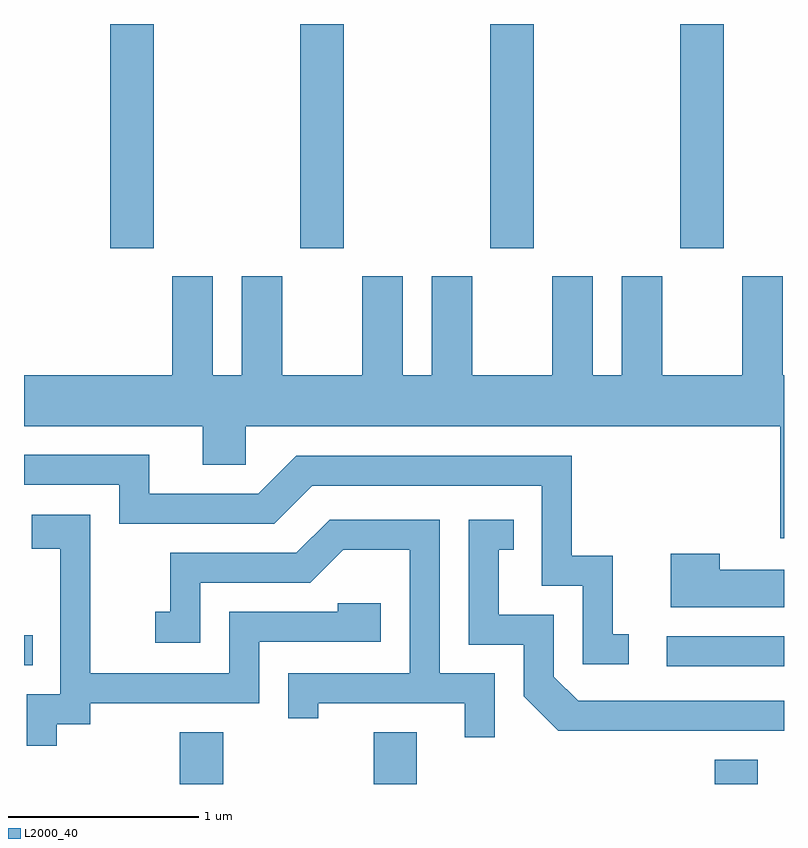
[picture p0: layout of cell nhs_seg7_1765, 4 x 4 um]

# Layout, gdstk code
import gdstk
lib = gdstk.Library(unit=1e-6, precision=1e-09)
def R(c, l, rs):  # rectangles x0, y0, x1, y1
    for r in rs: c.add(gdstk.rectangle(r[:2], r[2:], *l))
def A(c, l, x, y, w, h, nx, ny, dx, dy):  # array of equal rectangles
    R(c, l, [(x+i*dx, y+j*dy, x+i*dx+w, y+j*dy+h) for i in range(nx) for j in range(ny)])
def P(c, l, *ps):  # polygons
    for p in ps: c.add(gdstk.Polygon(p, *l))
L2000_40 = (2000, 40)

nhs_seg7_1765 = lib.new_cell('nhs_seg7_1765')
A(nhs_seg7_1765, L2000_40, 240.066, 1673.071, 0.228, 1.181, 4, 1, 1, 0)
R(nhs_seg7_1765, L2000_40, [(240.431,1670.252,240.659,1670.524), (241.451,1670.252,241.679,1670.524), (243.246,1670.252,243.474,1670.379), (242.993,1670.871,243.611,1671.029), (239.611,1670.876,239.658,1671.034)])
P(nhs_seg7_1765, L2000_40, [(243.611,1672.404),(243.604,1672.404),(243.604,1672.924),(243.391,1672.924),(243.391,1672.404),(242.969,1672.404),(242.969,1672.924),(242.756,1672.924),(242.756,1672.404),(242.604,1672.404),(242.604,1672.924),(242.391,1672.924),(242.391,1672.404),(241.969,1672.404),(241.969,1672.924),(241.756,1672.924),(241.756,1672.404),(241.604,1672.404),(241.604,1672.924),(241.391,1672.924),(241.391,1672.404),(240.969,1672.404),(240.969,1672.924),(240.756,1672.924),(240.756,1672.404),(240.604,1672.404),(240.604,1672.924),(240.391,1672.924),(240.391,1672.404),(239.611,1672.404),(239.611,1672.136),(240.551,1672.136),(240.551,1671.931),(240.779,1671.931),(240.779,1672.136),(243.591,1672.136),(243.591,1671.546),(243.611,1671.546)],
  [(242.793,1671.039),(242.709,1671.039),(242.709,1671.454),(242.494,1671.454),(242.494,1671.979),(241.044,1671.979),(240.844,1671.779),(240.269,1671.779),(240.269,1671.984),(239.611,1671.984),(239.611,1671.826),(240.111,1671.826),(240.111,1671.621),(240.927,1671.621),(241.127,1671.821),(242.336,1671.821),(242.336,1671.296),(242.551,1671.296),(242.551,1670.881),(242.793,1670.881)],
  [(239.784,1670.566),(239.959,1670.566),(239.959,1670.676),(240.849,1670.676),(240.849,1671.001),(241.489,1671.001),(241.489,1671.204),(241.261,1671.204),(241.261,1671.159),(240.691,1671.159),(240.691,1670.834),(239.959,1670.834),(239.959,1671.669),(239.651,1671.669),(239.651,1671.491),(239.801,1671.491),(239.801,1670.724),(239.626,1670.724),(239.626,1670.453),(239.784,1670.453)],
  [(243.611,1670.689),(242.527,1670.689),(242.399,1670.817),(242.399,1671.144),(242.109,1671.144),(242.109,1671.486),(242.188,1671.486),(242.188,1671.644),(241.951,1671.644),(241.951,1670.986),(242.241,1670.986),(242.241,1670.714),(242.424,1670.531),(243.611,1670.531)],
  [(242.089,1670.834),(241.799,1670.834),(241.799,1671.644),(241.219,1671.644),(241.044,1671.469),(240.381,1671.469),(240.381,1671.159),(240.303,1671.159),(240.303,1670.996),(240.539,1670.996),(240.539,1671.311),(241.117,1671.311),(241.292,1671.486),(241.641,1671.486),(241.641,1670.834),(241.001,1670.834),(241.001,1670.598),(241.159,1670.598),(241.159,1670.676),(241.931,1670.676),(241.931,1670.498),(242.089,1670.498)],
  [(243.611,1671.379),(243.274,1671.379),(243.274,1671.464),(243.016,1671.464),(243.016,1671.181),(243.611,1671.181)])

lib.write_gds('nhs_seg7_1765.gds')
